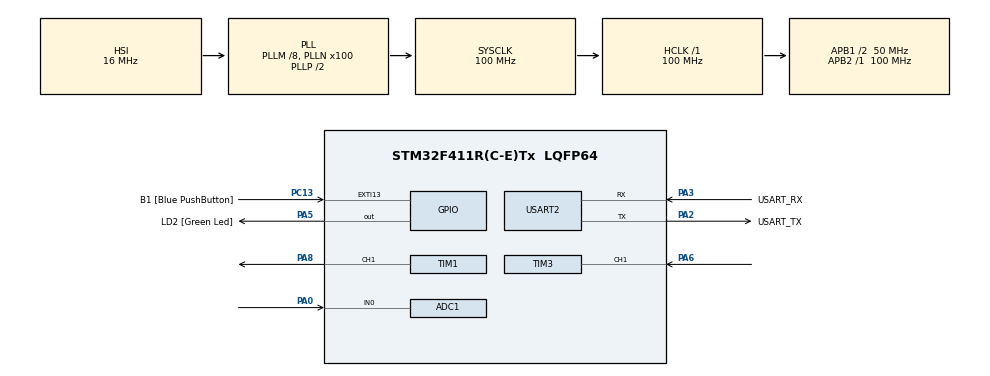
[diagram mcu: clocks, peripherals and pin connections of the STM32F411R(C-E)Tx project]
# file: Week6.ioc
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Mcu.Family=STM32F4
RCC.CortexFreq_Value=100000000
PA14.GPIO_Label=TCK
TIM1.Pulse-PWM\ Generation1\ CH1=0
RCC.SYSCLKSource=RCC_SYSCLKSOURCE_PLLCLK
ProjectManager.StackSize=0x400
TIM1.OC1Preload_PWM=ENABLE
NVIC.ADC_IRQn=true\:0\:0\:false\:false\:true\:true\:true
TIM1.Prescaler=0
PH0\ -\ OSC_IN.Signal=RCC_OSC_IN
RCC.HCLKFreq_Value=100000000
RCC.APB2TimFreq_Value=100000000
TIM3.Period=1000
ADC1.InjNumberOfConversion=0
RCC.AHBFreq_Value=100000000
TIM3.ClockDivision=TIM_CLOCKDIVISION_DIV1
NVIC.TIM1_TRG_COM_TIM11_IRQn=true\:0\:0\:false\:false\:true\:true\:true
RCC.HSE_VALUE=8000000
TIM3.Channel-Input_Capture1_from_TI1=TIM_CHANNEL_1
PC13-ANTI_TAMP.Signal=GPXTI13
PC14-OSC32_IN.Mode=LSE-External-Oscillator
TIM1.Channel-PWM\ Generation1\ CH1=TIM_CHANNEL_1
PA14.Mode=Serial_Wire
TIM3.Prescaler=99
PA8.Signal=S_TIM1_CH1
SH.ADCx_IN0.0=ADC1_IN0,IN0
SH.S_TIM3_CH1.0=TIM3_CH1,Input_Capture1_from_TI1
VP_TIM1_VS_ClockSourceINT.Mode=Internal
RCC.FLatency-AdvancedSettings=FLASH_LATENCY_3
Mcu.Package=LQFP64
PA6.Signal=S_TIM3_CH1
USART2.VirtualMode=VM_ASYNC
PA2.GPIO_Label=USART_TX
RCC.APB1TimFreq_Value=100000000
TIM1.Period=10000
VP_TIM3_VS_ClockSourceINT.Mode=Internal
PA3.Signal=USART2_RX
PB3.GPIO_Label=SWO
PC15-OSC32_OUT.Mode=LSE-External-Oscillator
PC13-ANTI_TAMP.GPIO_Label=B1 [Blue PushButton]
PH1\ -\ OSC_OUT.Mode=HSE-External-Clock-Source
TIM11.Prescaler=99
RCC.APB1CLKDivider=RCC_HCLK_DIV2
PC14-OSC32_IN.Signal=RCC_OSC32_IN
PA0-WKUP.Signal=ADCx_IN0
VP_TIM11_VS_ClockSourceINT.Mode=Enable_Timer
TIM1.AutoReloadPreload=TIM_AUTORELOAD_PRELOAD_ENABLE
PA13.Signal=SYS_JTMS-SWDIO
PA3.Mode=Asynchronous
PH0\ -\ OSC_IN.Mode=HSE-External-Clock-Source
SH.S_TIM1_CH1.0=TIM1_CH1,PWM Generation1 CH1
ProjectManager.TargetToolchain=STM32CubeIDE
ADC1.Channel-1\#ChannelRegularConversion=ADC_CHANNEL_0
PC15-OSC32_OUT.Signal=RCC_OSC32_OUT
PA5.Signal=GPIO_Output
PH1\ -\ OSC_OUT.Signal=RCC_OSC_OUT
board=NUCLEO-F411RE
RCC.VCOOutputFreq_Value=200000000
RCC.APB2Freq_Value=100000000
PA13.Mode=Serial_Wire
Mcu.Name=STM32F411R(C-E)Tx
PA13.GPIO_Label=TMS
PA2.Signal=USART2_TX
ADC1.ExternalTrigConv=ADC_EXTERNALTRIGCONV_T3_TRGO
RCC.48MHZClocksFreq_Value=50000000
PB3.Signal=SYS_JTDO-SWO
ADC1.SamplingTime-1\#ChannelRegularConversion=ADC_SAMPLETIME_3CYCLES
RCC.SYSCLKFreq_VALUE=100000000
ADC1.master=1
PA5.GPIO_Label=LD2 [Green Led]
ADC1.Rank-1\#ChannelRegularConversion=1
PC13-ANTI_TAMP.GPIO_ModeDefaultEXTI=GPIO_MODE_IT_FALLING
PA14.Signal=SYS_JTCK-SWCLK
ProjectManager.HeapSize=0x200
RCC.HSI_VALUE=16000000
NVIC.PriorityGroup=NVIC_PRIORITYGROUP_0
ADC1.NbrOfConversionFlag=1
RCC.PLLM=8
RCC.PLLN=100
PA2.Mode=Asynchronous
TIM3.TIM_MasterOutputTrigger=TIM_TRGO_UPDATE
RCC.APB1Freq_Value=50000000
PA3.GPIO_Label=USART_RX

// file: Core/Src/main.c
/* USER CODE BEGIN Header */
/**
 ******************************************************************************
 * @file           : main.c
 * @brief          : Main program body
 ******************************************************************************
 * @attention
 *
 * <h2><center>&copy; Copyright (c) 2021 STMicroelectronics.
 * All rights reserved.</center></h2>
 *
 * This software component is licensed by ST under BSD 3-Clause license,
 * the "License"; You may not use this file except in compliance with the
 * License. You may obtain a copy of the License at:
 *                        opensource.org/licenses/BSD-3-Clause
 *
 ******************************************************************************
 */
/* USER CODE END Header */
#include "main.h"

ADC_HandleTypeDef hadc1;

TIM_HandleTypeDef htim1;
TIM_HandleTypeDef htim3;
TIM_HandleTypeDef htim11;

UART_HandleTypeDef huart2;

/* USER CODE BEGIN PV */

uint8_t ADCUpdateFlag = 0;
//Store ADC Value
uint16_t ADCFeedBack = 0;

uint16_t PWMOut = 0;

uint64_t _micro = 0;
uint64_t TimeOutputLoop = 0;
float KP = 0, KI = 0, KD = 0 ;  // ประกาศตัวแปร
float erorN = 0, erorP = 0;
float sumEror = 0;
/* USER CODE END PV */

void SystemClock_Config(void);
static void MX_GPIO_Init(void);
static void MX_USART2_UART_Init(void);
static void MX_ADC1_Init(void);
static void MX_TIM1_Init(void);
static void MX_TIM11_Init(void);
static void MX_TIM3_Init(void);
/* USER CODE BEGIN PFP */
uint64_t micros();
/* USER CODE END PFP */

int main(void)
{

  /* MCU Configuration--------------------------------------------------------*/

  /* Reset of all peripherals, Initializes the Flash interface and the Systick. */
  HAL_Init();

  /* Configure the system clock */
  SystemClock_Config();

  /* Initialize all configured peripherals */
  MX_GPIO_Init();
  MX_USART2_UART_Init();
  MX_ADC1_Init();
  MX_TIM1_Init();
  MX_TIM11_Init();
  MX_TIM3_Init();
  /* USER CODE BEGIN 2 */
	//ADC START
	HAL_ADC_Start_IT(&hadc1);
	HAL_TIM_Base_Start(&htim3);
	// start pwm
	HAL_TIM_Base_Start(&htim1);
	HAL_TIM_PWM_Start(&htim1, TIM_CHANNEL_1);
	// start micros
	HAL_TIM_Base_Start_IT(&htim11);

  /* USER CODE END 2 */

  /* Infinite loop */
	while (1)
	{

    /* USER CODE BEGIN 3 */

		//1 Khz Loop
		if (micros() - TimeOutputLoop >= 1000)//uS
		{
			TimeOutputLoop = micros();
			// #001
			erorN = 1000 - ADCFeedBack;
			sumEror = sumEror + erorN ;
			PWMOut = KP*erorN + KI * sumEror + KD *(erorN - erorP);
			erorP = erorN;
			__HAL_TIM_SET_COMPARE(&htim1, TIM_CHANNEL_1, PWMOut);

		}

		if (ADCUpdateFlag)
		{
			ADCUpdateFlag = 0;
			//#002
		}

	}
  /* USER CODE END 3 */
}

void SystemClock_Config(void)
{
  RCC_OscInitTypeDef RCC_OscInitStruct = {0};
  RCC_ClkInitTypeDef RCC_ClkInitStruct = {0};

  /** Configure the main internal regulator output voltage
  */
  __HAL_RCC_PWR_CLK_ENABLE();
  __HAL_PWR_VOLTAGESCALING_CONFIG(PWR_REGULATOR_VOLTAGE_SCALE1);
  /** Initializes the RCC Oscillators according to the specified parameters
  * in the RCC_OscInitTypeDef structure.
  */
  RCC_OscInitStruct.OscillatorType = RCC_OSCILLATORTYPE_HSI;
  RCC_OscInitStruct.HSIState = RCC_HSI_ON;
  RCC_OscInitStruct.HSICalibrationValue = RCC_HSICALIBRATION_DEFAULT;
  RCC_OscInitStruct.PLL.PLLState = RCC_PLL_ON;
  RCC_OscInitStruct.PLL.PLLSource = RCC_PLLSOURCE_HSI;
  RCC_OscInitStruct.PLL.PLLM = 8;
  RCC_OscInitStruct.PLL.PLLN = 100;
  RCC_OscInitStruct.PLL.PLLP = RCC_PLLP_DIV2;
  RCC_OscInitStruct.PLL.PLLQ = 4;
  if (HAL_RCC_OscConfig(&RCC_OscInitStruct) != HAL_OK)
  {
    Error_Handler();
  }
  /** Initializes the CPU, AHB and APB buses clocks
  */
  RCC_ClkInitStruct.ClockType = RCC_CLOCKTYPE_HCLK|RCC_CLOCKTYPE_SYSCLK
                              |RCC_CLOCKTYPE_PCLK1|RCC_CLOCKTYPE_PCLK2;
  RCC_ClkInitStruct.SYSCLKSource = RCC_SYSCLKSOURCE_PLLCLK;
  RCC_ClkInitStruct.AHBCLKDivider = RCC_SYSCLK_DIV1;
  RCC_ClkInitStruct.APB1CLKDivider = RCC_HCLK_DIV2;
  RCC_ClkInitStruct.APB2CLKDivider = RCC_HCLK_DIV1;

  if (HAL_RCC_ClockConfig(&RCC_ClkInitStruct, FLASH_LATENCY_3) != HAL_OK)
  {
    Error_Handler();
  }
}

static void MX_ADC1_Init(void)
{

  ADC_ChannelConfTypeDef sConfig = {0};

  /** Configure the global features of the ADC (Clock, Resolution, Data Alignment and number of conversion)
  */
  hadc1.Instance = ADC1;
  hadc1.Init.ClockPrescaler = ADC_CLOCK_SYNC_PCLK_DIV4;
  hadc1.Init.Resolution = ADC_RESOLUTION_12B;
  hadc1.Init.ScanConvMode = DISABLE;
  hadc1.Init.ContinuousConvMode = DISABLE;
  hadc1.Init.DiscontinuousConvMode = DISABLE;
  hadc1.Init.ExternalTrigConvEdge = ADC_EXTERNALTRIGCONVEDGE_RISING;
  hadc1.Init.ExternalTrigConv = ADC_EXTERNALTRIGCONV_T3_TRGO;
  hadc1.Init.DataAlign = ADC_DATAALIGN_RIGHT;
  hadc1.Init.NbrOfConversion = 1;
  hadc1.Init.DMAContinuousRequests = DISABLE;
  hadc1.Init.EOCSelection = ADC_EOC_SINGLE_CONV;
  if (HAL_ADC_Init(&hadc1) != HAL_OK)
  {
    Error_Handler();
  }
  /** Configure for the selected ADC regular channel its corresponding rank in the sequencer and its sample time.
  */
  sConfig.Channel = ADC_CHANNEL_0;
  sConfig.Rank = 1;
  sConfig.SamplingTime = ADC_SAMPLETIME_3CYCLES;
  if (HAL_ADC_ConfigChannel(&hadc1, &sConfig) != HAL_OK)
  {
    Error_Handler();
  }

}

static void MX_TIM1_Init(void)
{

  TIM_ClockConfigTypeDef sClockSourceConfig = {0};
  TIM_MasterConfigTypeDef sMasterConfig = {0};
  TIM_OC_InitTypeDef sConfigOC = {0};
  TIM_BreakDeadTimeConfigTypeDef sBreakDeadTimeConfig = {0};

  htim1.Instance = TIM1;
  htim1.Init.Prescaler = 0;
  htim1.Init.CounterMode = TIM_COUNTERMODE_UP;
  htim1.Init.Period = 10000;
  htim1.Init.ClockDivision = TIM_CLOCKDIVISION_DIV1;
  htim1.Init.RepetitionCounter = 0;
  htim1.Init.AutoReloadPreload = TIM_AUTORELOAD_PRELOAD_ENABLE;
  if (HAL_TIM_Base_Init(&htim1) != HAL_OK)
  {
    Error_Handler();
  }
  sClockSourceConfig.ClockSource = TIM_CLOCKSOURCE_INTERNAL;
  if (HAL_TIM_ConfigClockSource(&htim1, &sClockSourceConfig) != HAL_OK)
  {
    Error_Handler();
  }
  if (HAL_TIM_PWM_Init(&htim1) != HAL_OK)
  {
    Error_Handler();
  }
  sMasterConfig.MasterOutputTrigger = TIM_TRGO_RESET;
  sMasterConfig.MasterSlaveMode = TIM_MASTERSLAVEMODE_DISABLE;
  if (HAL_TIMEx_MasterConfigSynchronization(&htim1, &sMasterConfig) != HAL_OK)
  {
    Error_Handler();
  }
  sConfigOC.OCMode = TIM_OCMODE_PWM1;
  sConfigOC.Pulse = 0;
  sConfigOC.OCPolarity = TIM_OCPOLARITY_HIGH;
  sConfigOC.OCNPolarity = TIM_OCNPOLARITY_HIGH;
  sConfigOC.OCFastMode = TIM_OCFAST_DISABLE;
  sConfigOC.OCIdleState = TIM_OCIDLESTATE_RESET;
  sConfigOC.OCNIdleState = TIM_OCNIDLESTATE_RESET;
  if (HAL_TIM_PWM_ConfigChannel(&htim1, &sConfigOC, TIM_CHANNEL_1) != HAL_OK)
  {
    Error_Handler();
  }
  sBreakDeadTimeConfig.OffStateRunMode = TIM_OSSR_DISABLE;
  sBreakDeadTimeConfig.OffStateIDLEMode = TIM_OSSI_DISABLE;
  sBreakDeadTimeConfig.LockLevel = TIM_LOCKLEVEL_OFF;
  sBreakDeadTimeConfig.DeadTime = 0;
  sBreakDeadTimeConfig.BreakState = TIM_BREAK_DISABLE;
  sBreakDeadTimeConfig.BreakPolarity = TIM_BREAKPOLARITY_HIGH;
  sBreakDeadTimeConfig.AutomaticOutput = TIM_AUTOMATICOUTPUT_DISABLE;
  if (HAL_TIMEx_ConfigBreakDeadTime(&htim1, &sBreakDeadTimeConfig) != HAL_OK)
  {
    Error_Handler();
  }
  HAL_TIM_MspPostInit(&htim1);

}

static void MX_TIM3_Init(void)
{

  TIM_ClockConfigTypeDef sClockSourceConfig = {0};
  TIM_MasterConfigTypeDef sMasterConfig = {0};
  TIM_IC_InitTypeDef sConfigIC = {0};

  htim3.Instance = TIM3;
  htim3.Init.Prescaler = 99;
  htim3.Init.CounterMode = TIM_COUNTERMODE_UP;
  htim3.Init.Period = 1000;
  htim3.Init.ClockDivision = TIM_CLOCKDIVISION_DIV1;
  htim3.Init.AutoReloadPreload = TIM_AUTORELOAD_PRELOAD_DISABLE;
  if (HAL_TIM_Base_Init(&htim3) != HAL_OK)
  {
    Error_Handler();
  }
  sClockSourceConfig.ClockSource = TIM_CLOCKSOURCE_INTERNAL;
  if (HAL_TIM_ConfigClockSource(&htim3, &sClockSourceConfig) != HAL_OK)
  {
    Error_Handler();
  }
  if (HAL_TIM_IC_Init(&htim3) != HAL_OK)
  {
    Error_Handler();
  }
  sMasterConfig.MasterOutputTrigger = TIM_TRGO_UPDATE;
  sMasterConfig.MasterSlaveMode = TIM_MASTERSLAVEMODE_DISABLE;
  if (HAL_TIMEx_MasterConfigSynchronization(&htim3, &sMasterConfig) != HAL_OK)
  {
    Error_Handler();
  }
  sConfigIC.ICPolarity = TIM_INPUTCHANNELPOLARITY_RISING;
  sConfigIC.ICSelection = TIM_ICSELECTION_DIRECTTI;
  sConfigIC.ICPrescaler = TIM_ICPSC_DIV1;
  sConfigIC.ICFilter = 0;
  if (HAL_TIM_IC_ConfigChannel(&htim3, &sConfigIC, TIM_CHANNEL_1) != HAL_OK)
  {
    Error_Handler();
  }

}

static void MX_TIM11_Init(void)
{

  htim11.Instance = TIM11;
  htim11.Init.Prescaler = 99;
  htim11.Init.CounterMode = TIM_COUNTERMODE_UP;
  htim11.Init.Period = 65535;
  htim11.Init.ClockDivision = TIM_CLOCKDIVISION_DIV1;
  htim11.Init.AutoReloadPreload = TIM_AUTORELOAD_PRELOAD_DISABLE;
  if (HAL_TIM_Base_Init(&htim11) != HAL_OK)
  {
    Error_Handler();
  }

}

static void MX_USART2_UART_Init(void)
{

  huart2.Instance = USART2;
  huart2.Init.BaudRate = 115200;
  huart2.Init.WordLength = UART_WORDLENGTH_8B;
  huart2.Init.StopBits = UART_STOPBITS_1;
  huart2.Init.Parity = UART_PARITY_NONE;
  huart2.Init.Mode = UART_MODE_TX_RX;
  huart2.Init.HwFlowCtl = UART_HWCONTROL_NONE;
  huart2.Init.OverSampling = UART_OVERSAMPLING_16;
  if (HAL_UART_Init(&huart2) != HAL_OK)
  {
    Error_Handler();
  }

}

static void MX_GPIO_Init(void)
{
  GPIO_InitTypeDef GPIO_InitStruct = {0};

  /* GPIO Ports Clock Enable */
  __HAL_RCC_GPIOC_CLK_ENABLE();
  __HAL_RCC_GPIOH_CLK_ENABLE();
  __HAL_RCC_GPIOA_CLK_ENABLE();
  __HAL_RCC_GPIOB_CLK_ENABLE();

  /*Configure GPIO pin Output Level */
  HAL_GPIO_WritePin(LD2_GPIO_Port, LD2_Pin, GPIO_PIN_RESET);

  /*Configure GPIO pin : B1_Pin */
  GPIO_InitStruct.Pin = B1_Pin;
  GPIO_InitStruct.Mode = GPIO_MODE_IT_FALLING;
  GPIO_InitStruct.Pull = GPIO_NOPULL;
  HAL_GPIO_Init(B1_GPIO_Port, &GPIO_InitStruct);

  /*Configure GPIO pin : LD2_Pin */
  GPIO_InitStruct.Pin = LD2_Pin;
  GPIO_InitStruct.Mode = GPIO_MODE_OUTPUT_PP;
  GPIO_InitStruct.Pull = GPIO_NOPULL;
  GPIO_InitStruct.Speed = GPIO_SPEED_FREQ_LOW;
  HAL_GPIO_Init(LD2_GPIO_Port, &GPIO_InitStruct);

}

/* USER CODE BEGIN 4 */

void HAL_ADC_ConvCpltCallback(ADC_HandleTypeDef *hadc)
{
	ADCFeedBack = HAL_ADC_GetValue(&hadc1); // output
	ADCUpdateFlag = 1;
}
void HAL_TIM_PeriodElapsedCallback(TIM_HandleTypeDef *htim)
{
	if (htim == &htim11)
	{
		_micro += 65535;
	}
}

__inline__ uint64_t micros()
{
	return _micro + htim11.Instance->CNT;
}
/* USER CODE END 4 */

void Error_Handler(void)
{
	__disable_irq();
	while (1)
	{
	}
}

/************************ (C) COPYRIGHT STMicroelectronics *****END OF FILE****/
